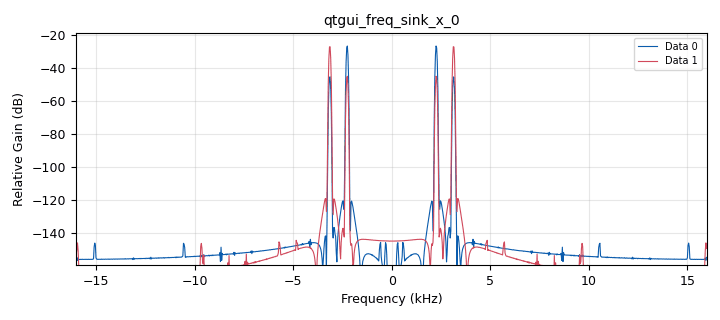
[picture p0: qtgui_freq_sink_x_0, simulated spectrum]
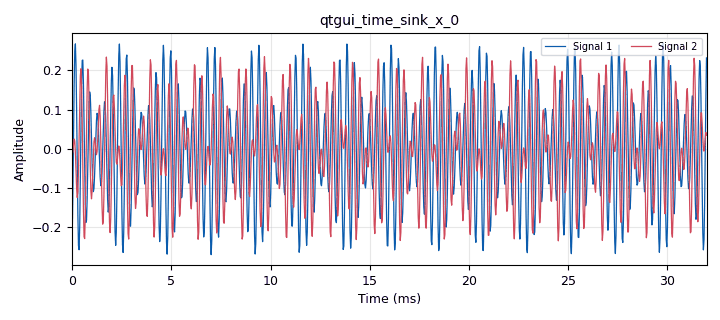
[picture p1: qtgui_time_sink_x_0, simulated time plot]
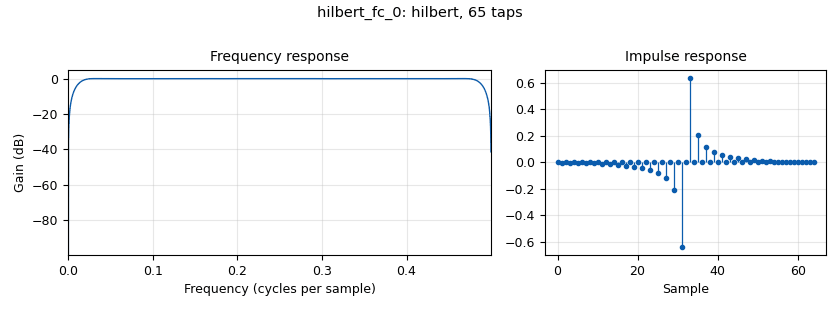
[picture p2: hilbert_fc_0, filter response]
options:
  parameters:
    generate_options: qt_gui
    id: ssb_dsb_am_2_6
    output_language: python
    title: DSB and SSB amplitude modulations
  states: {}

blocks:
- name: samp_rate
  id: variable
  parameters:
    value: '32000'
  states: {}
- name: analog_sig_source_x_0
  id: analog_sig_source_x
  parameters:
    amp: '1'
    freq: 2.7e3
    offset: '0'
    phase: '0'
    samp_rate: samp_rate
    type: complex
    waveform: analog.GR_COS_WAVE
  states: {}
- name: analog_sig_source_x_1
  id: analog_sig_source_x
  parameters:
    amp: '0.3'
    comment: broadcast signal
    freq: '440'
    offset: '0'
    phase: '0'
    samp_rate: samp_rate
    type: float
    waveform: analog.GR_COS_WAVE
  states: {}
- name: blocks_add_const_vxx_0
  id: blocks_add_const_vxx
  parameters:
    comment: Double Side Band (DSB) AM modulation path
    const: '0.6'
    type: float
  states: {}
- name: blocks_add_xx_0
  id: blocks_add_xx
  parameters:
    type: float
  states: {}
- name: blocks_add_xx_0_0
  id: blocks_add_xx
  parameters:
    type: float
  states: {}
- name: blocks_complex_to_float_0
  id: blocks_complex_to_float
  parameters: {}
  states: {}
- name: blocks_complex_to_float_0_0
  id: blocks_complex_to_float
  parameters: {}
  states: {}
- name: blocks_multiply_const_vxx_0
  id: blocks_multiply_const_vxx
  parameters:
    const: '0.3'
    type: float
  states: {}
- name: blocks_multiply_xx_0
  id: blocks_multiply_xx
  parameters:
    type: float
  states: {}
- name: blocks_multiply_xx_0_0
  id: blocks_multiply_xx
  parameters:
    type: float
  states: {}
- name: blocks_multiply_xx_0_1
  id: blocks_multiply_xx
  parameters:
    type: float
  states: {}
- name: blocks_multiply_xx_0_2
  id: blocks_multiply_xx
  parameters:
    type: float
  states: {}
- name: blocks_multiply_xx_0_3
  id: blocks_multiply_xx
  parameters:
    type: float
  states: {}
- name: blocks_throttle2_0
  id: blocks_throttle2
  parameters:
    comment: |-
      SSB (USB top, LSB bottom) 
      AM modulation path
    samples_per_second: samp_rate
    type: complex
  states: {}
- name: hilbert_fc_0
  id: hilbert_fc
  parameters:
    num_taps: '65'
  states: {}
- name: qtgui_freq_sink_x_0
  id: qtgui_freq_sink_x
  parameters:
    autoscale: 'True'
    bw: samp_rate
    fc: '0'
    fftsize: '1024'
    nconnections: '2'
    type: float
  states: {}
- name: qtgui_time_sink_x_0
  id: qtgui_time_sink_x
  parameters:
    autoscale: 'True'
    nconnections: '2'
    size: '1024'
    srate: samp_rate
    type: float
  states: {}

connections:
- [analog_sig_source_x_0, '0', blocks_throttle2_0, '0']
- [analog_sig_source_x_1, '0', blocks_add_const_vxx_0, '0']
- [analog_sig_source_x_1, '0', hilbert_fc_0, '0']
- [blocks_add_const_vxx_0, '0', blocks_multiply_const_vxx_0, '0']
- [blocks_add_xx_0, '0', qtgui_freq_sink_x_0, '1']
- [blocks_add_xx_0_0, '0', qtgui_freq_sink_x_0, '0']
- [blocks_complex_to_float_0, '0', blocks_multiply_xx_0_0, '0']
- [blocks_complex_to_float_0, '0', blocks_multiply_xx_0_1, '0']
- [blocks_complex_to_float_0, '1', blocks_multiply_xx_0_2, '0']
- [blocks_complex_to_float_0, '1', blocks_multiply_xx_0_3, '1']
- [blocks_complex_to_float_0_0, '0', blocks_multiply_xx_0, '1']
- [blocks_complex_to_float_0_0, '0', blocks_multiply_xx_0_1, '1']
- [blocks_complex_to_float_0_0, '0', blocks_multiply_xx_0_3, '0']
- [blocks_complex_to_float_0_0, '1', blocks_multiply_xx_0_0, '1']
- [blocks_complex_to_float_0_0, '1', blocks_multiply_xx_0_2, '1']
- [blocks_multiply_const_vxx_0, '0', blocks_multiply_xx_0, '0']
- [blocks_multiply_xx_0, '0', qtgui_time_sink_x_0, '0']
- [blocks_multiply_xx_0_0, '0', blocks_add_xx_0, '1']
- [blocks_multiply_xx_0_1, '0', blocks_add_xx_0_0, '0']
- [blocks_multiply_xx_0_2, '0', blocks_add_xx_0_0, '1']
- [blocks_multiply_xx_0_2, '0', qtgui_time_sink_x_0, '1']
- [blocks_multiply_xx_0_3, '0', blocks_add_xx_0, '0']
- [blocks_throttle2_0, '0', blocks_complex_to_float_0_0, '0']
- [hilbert_fc_0, '0', blocks_complex_to_float_0, '0']

metadata:
  file_format: 1
  grc_version: 3.10.12.0
